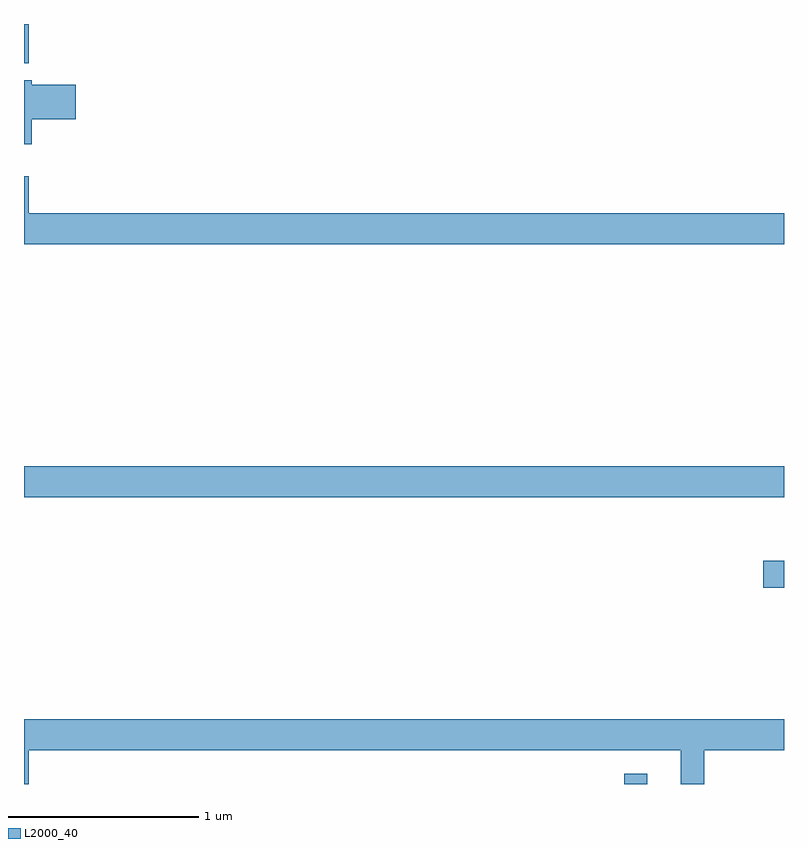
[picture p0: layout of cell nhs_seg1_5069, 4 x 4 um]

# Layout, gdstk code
import gdstk
lib = gdstk.Library(unit=1e-6, precision=1e-09)
def R(c, l, rs):  # rectangles x0, y0, x1, y1
    for r in rs: c.add(gdstk.rectangle(r[:2], r[2:], *l))
def P(c, l, *ps):  # polygons
    for p in ps: c.add(gdstk.Polygon(p, *l))
L2000_40 = (2000, 40)

nhs_seg1_5069 = lib.new_cell('nhs_seg1_5069')
R(nhs_seg1_5069, L2000_40, [(388.158,574.199,388.279,574.252), (388.89,575.231,389,575.373), (385,575.708,389,575.872), (385,577.992,385.025,578.199)])
P(nhs_seg1_5069, L2000_40, [(385.042,577.697),(385.273,577.697),(385.273,577.88),(385.042,577.88),(385.042,577.903),(385,577.903),(385,577.566),(385.042,577.566)],
  [(389,577.204),(385.025,577.204),(385.025,577.399),(385,577.399),(385,577.04),(389,577.04)],
  [(385.025,574.376),(388.457,574.376),(388.457,574.199),(388.579,574.199),(388.579,574.376),(389,574.376),(389,574.54),(385,574.54),(385,574.199),(385.025,574.199)])

lib.write_gds('nhs_seg1_5069.gds')
